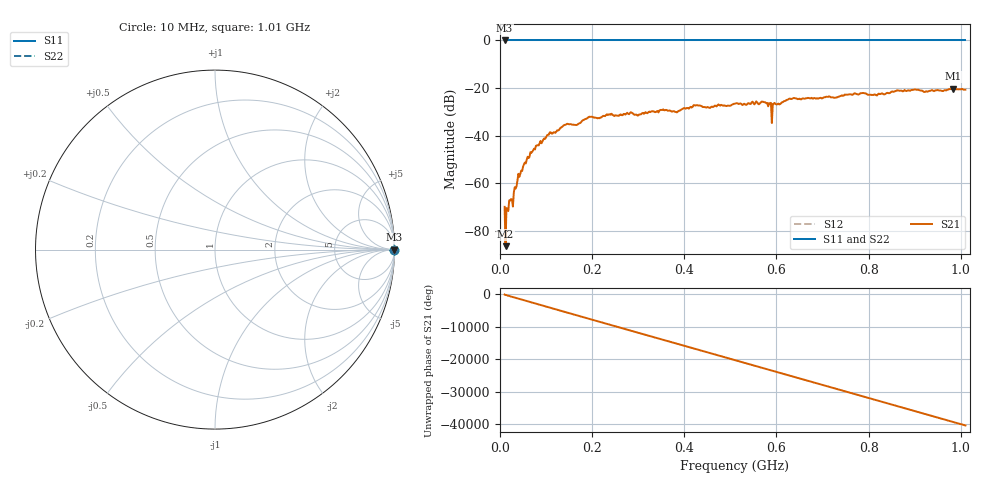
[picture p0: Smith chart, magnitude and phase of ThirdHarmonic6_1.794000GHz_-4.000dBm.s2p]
! 8/16/2025 9:42:11 PM
! C:\ANRITSUVNA\TEMP\TEMP.S2P
! CHANNEL.1
! TR.MEASUREMENT
! RAW.DATA
! RF.CORRECTION.OFF
! AVERAGING.OFF
! IF.BANDWIDTH: 5KHZ
! SWEEPTYPE:  FREQ.SWEEP(Linear)
! Reference Plane Port Info
! PORT:  PORT1  PORT2
! DISTANCE:  0  m  0  m
! TIME:  0  s  0  s
! PHASE.OFFSET:  0  deg.  0  deg.
! LOSS:  0  dB  0  dB
! REF.LOSS:  0  dB  0  dB
! REF.FREQ:  0  Hz  0  Hz
! Power Info
! POWER:  -20  dBm  -20  dBm
! EFF.POWER:  -20  dBm  -20  dBm
! SOURCE.ATTEN:  0  dB  0  dB
! TEST.ATTEN:  0  dB  0  dB
# GHZ S RI R 50.0
! FREQ.GHZ  S11RE  S11IM  S21RE  S21IM  S12RE  S12IM  S22RE  S22IM
!; PortSelection: Port_12
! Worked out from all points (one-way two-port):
!   501 points, 10 MHz to 1.01 GHz, reference 50 ohm
!   highest |S21| = -20.24 dB at 984 MHz (marker M1); lowest = -86.6 dB at 12 MHz (marker M2)
!   lowest |S11| = 0.0 dB at 10 MHz (marker M3)
!   |S11| at or under -10 dB: nowhere
!   |S22| runs from 0.0 to 0.0 dB; largest |S21 - S12| = 1.1
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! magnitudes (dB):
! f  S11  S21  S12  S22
! 10 MHz  0.0  -70.0  0.0  0.0
! 12 MHz  0.0  -86.6  0.0  0.0
! 16 MHz  0.0  -70.8  0.0  0.0
! 18 MHz  0.0  -71.8  0.0  0.0
! 30 MHz  0.0  -63.9  0.0  0.0
! 42 MHz  0.0  -57.4  0.0  0.0
! 70 MHz  0.0  -46.8  0.0  0.0
! 106 MHz  0.0  -39.7  0.0  0.0
! 142 MHz  0.0  -35.5  0.0  0.0
! 178 MHz  0.0  -33.9  0.0  0.0
! 196 MHz  0.0  -32.1  0.0  0.0
! 344 MHz  0.0  -30.3  0.0  0.0
! 384 MHz  0.0  -30.2  0.0  0.0
! 510 MHz  0.0  -26.6  0.0  0.0
! 572 MHz  0.0  -25.9  0.0  0.0
! 584 MHz  0.0  -26.4  0.0  0.0
! 586 MHz  0.0  -26.7  0.0  0.0
! 626 MHz  0.0  -24.7  0.0  0.0
! 678 MHz  0.0  -24.4  0.0  0.0
! 844 MHz  0.0  -22.2  0.0  0.0
! 984 MHz  0.0  -20.2  0.0  0.0
! 1.01 GHz  0.0  -20.7  0.0  0.0
